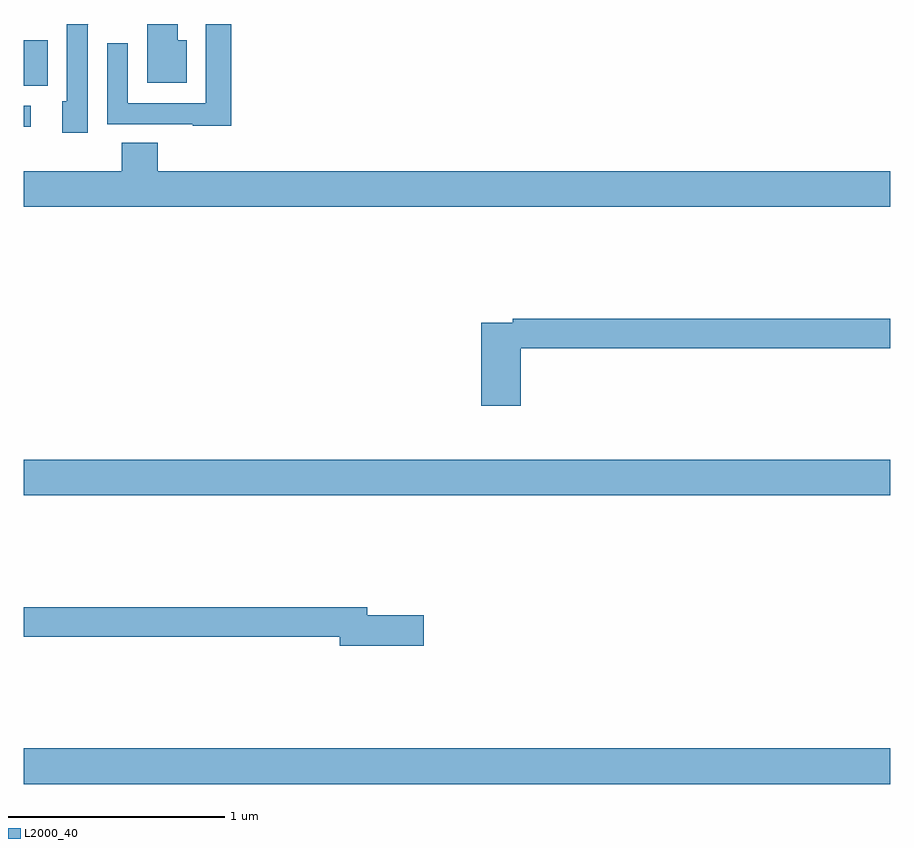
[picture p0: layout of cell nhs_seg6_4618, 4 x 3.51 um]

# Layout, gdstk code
import gdstk
lib = gdstk.Library(unit=1e-6, precision=1e-09)
def R(c, l, rs):  # rectangles x0, y0, x1, y1
    for r in rs: c.add(gdstk.rectangle(r[:2], r[2:], *l))
def P(c, l, *ps):  # polygons
    for p in ps: c.add(gdstk.Polygon(p, *l))
L2000_40 = (2000, 40)

nhs_seg6_4618 = lib.new_cell('nhs_seg6_4618')
R(nhs_seg6_4618, L2000_40, [(383,957.992,387,958.156), (383,959.324,387,959.488), (383,961.025,383.032,961.122), (383,961.215,383.11,961.426)])
P(nhs_seg6_4618, L2000_40, [(383.295,961.498),(383.297,961.498),(383.297,961.5),(383.199,961.5),(383.199,961.143),(383.177,961.143),(383.177,960.999),(383.295,960.999)],
  [(383.752,961.426),(383.71,961.426),(383.71,961.5),(383.57,961.5),(383.57,961.229),(383.752,961.229)],
  [(383.957,961.5),(383.841,961.5),(383.841,961.134),(383.481,961.134),(383.481,961.411),(383.385,961.411),(383.385,961.038),(383.781,961.038),(383.781,961.031),(383.957,961.031)],
  [(387,960.82),(383.618,960.82),(383.618,960.953),(383.453,960.953),(383.453,960.82),(383,960.82),(383,960.656),(387,960.656)],
  [(385.295,960.004),(387,960.004),(387,960.14),(385.258,960.14),(385.258,960.12),(385.112,960.12),(385.112,959.739),(385.295,959.739)],
  [(384.847,958.772),(384.586,958.772),(384.586,958.808),(383,958.808),(383,958.672),(384.458,958.672),(384.458,958.63),(384.847,958.63)])

lib.write_gds('nhs_seg6_4618.gds')
